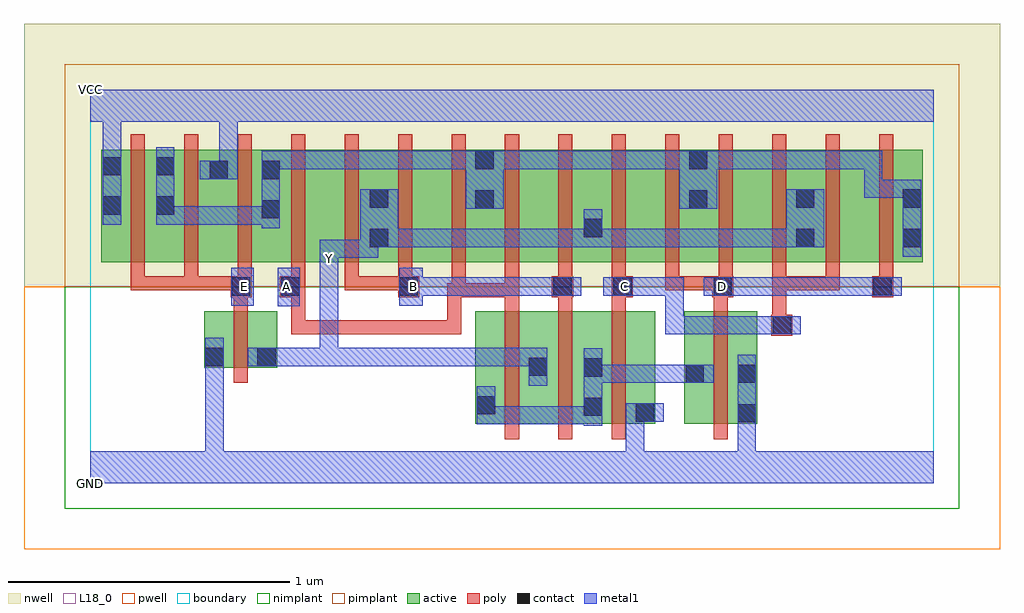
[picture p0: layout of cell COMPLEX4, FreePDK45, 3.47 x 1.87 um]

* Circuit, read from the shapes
.subckt COMPLEX4 A B C D E GND VCC Y
M1 Y E GND VSUBS nfet w=0.2u l=0.05u
M2 Y A n1 VSUBS nfet w=0.4u l=0.05u
M3 n1 B Y VSUBS nfet w=0.4u l=0.05u
M4 GND C n1 VSUBS nfet w=0.4u l=0.05u
M5 GND D n1 VSUBS nfet w=0.4u l=0.05u
M6 n2 E VCC n3 pfet w=0.4u l=0.05u m=3
M7 n4 A n2 n3 pfet w=0.4u l=0.05u
M8 Y B n4 n3 pfet w=0.4u l=0.05u
M9 n5 B Y n3 pfet w=0.4u l=0.05u
M10 n2 A n5 n3 pfet w=0.4u l=0.05u
M11 n6 A n2 n3 pfet w=0.4u l=0.05u
M12 Y B n6 n3 pfet w=0.4u l=0.05u
M13 n7 C Y n3 pfet w=0.4u l=0.05u
M14 n2 D n7 n3 pfet w=0.4u l=0.05u
M15 n8 D n2 n3 pfet w=0.4u l=0.05u
M16 Y C n8 n3 pfet w=0.4u l=0.05u
M17 n9 C Y n3 pfet w=0.4u l=0.05u
M18 n2 D n9 n3 pfet w=0.4u l=0.05u
.ends

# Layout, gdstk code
import gdstk
lib = gdstk.Library(unit=1e-6, precision=1e-09)
def R(c, l, rs):  # rectangles x0, y0, x1, y1
    for r in rs: c.add(gdstk.rectangle(r[:2], r[2:], *l))
def A(c, l, x, y, w, h, nx, ny, dx, dy):  # array of equal rectangles
    R(c, l, [(x+i*dx, y+j*dy, x+i*dx+w, y+j*dy+h) for i in range(nx) for j in range(ny)])
active = (1, 0)
pwell = (2, 0)
nwell = (3, 0)
nimplant = (4, 0)
pimplant = (5, 0)
poly = (9, 0)
contact = (10, 0)
metal1 = (11, 0)
L18_0 = (18, 0)
boundary = (235, 0)

complex4 = lib.new_cell('COMPLEX4')
A(complex4, active, 1.975, 0.787, 0.225, 0.4, 3, 1, 0.38, 0)
R(complex4, active, [(1.37,0.212,1.445,0.612), (1.37,0.212,1.63,0.612), (1.555,0.212,1.825,0.612), (1.75,0.212,2.01,0.612), (1.75,0.212,1.825,0.492), (1.935,0.212,2.01,0.612), (2.112,0.212,2.187,0.612), (2.112,0.212,2.372,0.612), (2.297,0.212,2.372,0.612), (1.555,0.245,1.63,0.492), (0.405,0.412,0.48,0.612), (0.405,0.412,0.665,0.612), (0.59,0.412,0.665,0.612), (0.04,0.787,0.115,1.187), (0.04,0.787,0.305,1.187), (0.23,0.787,0.495,1.187), (0.23,0.787,0.305,1.165), (0.42,0.787,0.495,1.187), (0.42,0.787,0.68,1.187), (0.605,0.787,0.68,1.155), (0.605,0.787,0.835,1.187), (0.835,0.787,1.065,1.187), (0.99,0.787,1.215,1.187), (0.99,0.787,1.065,1.07), (1.215,0.787,1.44,1.187), (1.365,0.787,1.44,1.187), (1.365,0.787,1.595,1.187), (1.595,0.787,1.825,1.187), (1.75,0.787,1.975,1.187), (1.75,0.787,1.825,1.07), (2.125,0.787,2.355,1.187), (2.505,0.787,2.735,1.187), (2.505,0.787,2.58,1.07), (2.885,0.787,2.96,1.155), (2.125,0.802,2.2,1.187)])
R(complex4, pwell, [(-0.235,-0.235,3.235,0.7)])
R(complex4, nwell, [(-0.235,0.7,3.235,1.635)])
R(complex4, nimplant, [(-0.09,-0.09,3.09,0.7)])
R(complex4, pimplant, [(-0.09,0.7,3.09,1.49)])
A(complex4, poly, 1.475, 0.157, 0.05, 0.51, 3, 1, 0.19, 0)
A(complex4, poly, 1.475, 0.617, 0.05, 0.095, 3, 1, 0.19, 0)
A(complex4, poly, 0.145, 0.687, 0.05, 0.095, 6, 1, 0.19, 0)
A(complex4, poly, 1.665, 0.687, 0.05, 0.095, 7, 1, 0.19, 0)
A(complex4, poly, 0.145, 0.732, 0.05, 0.51, 15, 1, 0.19, 0)
R(complex4, poly, [(2.217,0.157,2.267,0.667), (0.51,0.357,0.56,0.667), (2.422,0.525,2.497,0.6), (0.715,0.53,0.765,0.58), (0.715,0.53,0.765,0.712), (0.715,0.53,0.897,0.58), (0.847,0.53,0.897,0.58), (0.847,0.53,0.897,0.58), (0.847,0.53,0.897,0.58), (0.847,0.53,1.087,0.58), (1.037,0.53,1.087,0.58), (1.037,0.53,1.087,0.58), (1.037,0.53,1.087,0.58), (1.037,0.53,1.32,0.58), (1.27,0.53,1.32,0.58), (1.27,0.53,1.32,0.58), (1.27,0.53,1.32,0.58), (1.27,0.53,1.32,0.712), (2.425,0.55,2.475,0.6), (2.425,0.55,2.475,0.6), (2.425,0.55,2.475,0.737), (0.51,0.617,0.56,0.712), (2.217,0.617,2.267,0.712), (0.5,0.662,0.575,0.737), (0.675,0.662,0.765,0.737), (0.715,0.662,0.765,0.712), (0.715,0.662,0.765,0.712), (1.095,0.662,1.17,0.737), (1.27,0.662,1.32,0.712), (1.27,0.662,1.32,0.712), (1.27,0.662,1.335,0.712), (1.285,0.662,1.525,0.712), (1.285,0.662,1.335,0.782), (1.475,0.662,1.525,0.712), (1.475,0.662,1.525,0.712), (1.475,0.662,1.525,0.712), (1.475,0.662,1.525,0.782), (1.642,0.662,1.717,0.737), (1.855,0.662,1.93,0.737), (2.212,0.662,2.287,0.737), (2.78,0.662,2.855,0.737), (0.145,0.687,0.195,0.737), (0.145,0.687,0.195,0.737), (0.145,0.687,0.195,0.737), (0.145,0.687,0.385,0.737), (0.335,0.687,0.385,0.737), (0.335,0.687,0.385,0.737), (0.335,0.687,0.385,0.737), (0.335,0.687,0.55,0.737), (0.905,0.687,0.955,0.737), (0.905,0.687,1.145,0.737), (1.095,0.687,1.145,0.737), (1.095,0.687,1.145,0.737), (2.045,0.687,2.095,0.737), (2.045,0.687,2.262,0.737), (2.212,0.687,2.262,0.737), (2.212,0.687,2.262,0.737), (2.425,0.687,2.475,0.737), (2.425,0.687,2.665,0.737), (2.615,0.687,2.665,0.737), (2.615,0.687,2.665,0.737), (2.615,0.687,2.665,0.737)])
R(complex4, contact, [(2.302,0.217,2.367,0.282), (1.94,0.22,2.005,0.285), (1.755,0.24,1.82,0.305), (1.375,0.245,1.44,0.31), (2.117,0.357,2.182,0.422), (2.302,0.357,2.367,0.422), (1.755,0.38,1.82,0.445), (1.56,0.382,1.625,0.447), (0.41,0.417,0.475,0.482), (0.595,0.417,0.66,0.482), (2.427,0.53,2.492,0.595), (0.505,0.667,0.57,0.732), (0.68,0.667,0.745,0.732), (1.1,0.667,1.165,0.732), (1.647,0.667,1.712,0.732), (1.86,0.667,1.925,0.732), (2.217,0.667,2.282,0.732), (2.785,0.667,2.85,0.732), (0.995,0.84,1.06,0.905), (2.51,0.84,2.575,0.905), (2.89,0.84,2.955,0.905), (1.755,0.875,1.82,0.94), (0.61,0.942,0.675,1.007), (0.045,0.955,0.11,1.02), (0.235,0.955,0.3,1.02), (1.37,0.977,1.435,1.042), (2.13,0.977,2.195,1.042), (0.995,0.98,1.06,1.045), (2.51,0.98,2.575,1.045), (2.89,0.98,2.955,1.045), (0.425,1.082,0.49,1.147), (0.61,1.082,0.675,1.147), (0.045,1.095,0.11,1.16), (0.235,1.095,0.3,1.16), (1.37,1.117,1.435,1.182), (2.13,1.117,2.195,1.182)])
R(complex4, metal1, [(0,0,3,0.115), (0.41,0.05,0.475,0.115), (0.41,0.05,0.475,0.115), (0.41,0.05,0.475,0.115), (0.41,0.05,0.475,0.115), (0.41,0.05,0.475,0.447), (1.905,0.05,1.97,0.285), (2.302,0.05,2.367,0.247), (2.302,0.182,2.367,0.247), (2.302,0.182,2.367,0.247), (2.302,0.182,2.367,0.457), (1.755,0.205,1.82,0.48), (1.375,0.21,1.44,0.345), (1.375,0.21,1.54,0.275), (1.475,0.21,1.54,0.275), (1.475,0.21,1.682,0.275), (1.617,0.21,1.682,0.275), (1.617,0.21,1.682,0.275), (1.617,0.21,1.682,0.275), (1.617,0.21,1.82,0.275), (1.905,0.22,1.97,0.285), (1.905,0.22,1.97,0.285), (1.905,0.22,2.04,0.285), (1.56,0.347,1.625,0.482), (1.755,0.357,1.82,0.422), (1.755,0.357,1.82,0.422), (1.755,0.357,1.967,0.422), (1.902,0.357,1.967,0.422), (1.902,0.357,2.11,0.422), (2.045,0.357,2.11,0.422), (2.045,0.357,2.147,0.422), (2.082,0.357,2.217,0.422), (0.41,0.382,0.475,0.447), (0.41,0.382,0.475,0.447), (0.41,0.382,0.475,0.517), (0.56,0.417,0.695,0.482), (0.63,0.417,0.695,0.482), (0.63,0.417,0.695,0.482), (0.63,0.417,0.882,0.482), (0.817,0.417,0.882,0.482), (0.817,0.417,0.882,0.482), (0.817,0.417,0.882,0.482), (0.817,0.417,1.025,0.482), (0.817,0.417,0.882,0.797), (0.96,0.417,1.025,0.482), (0.96,0.417,1.025,0.482), (0.96,0.417,1.025,0.482), (0.96,0.417,1.262,0.482), (1.197,0.417,1.262,0.482), (1.197,0.417,1.402,0.482), (1.337,0.417,1.402,0.482), (1.337,0.417,1.402,0.482), (1.337,0.417,1.402,0.482), (1.337,0.417,1.54,0.482), (1.475,0.417,1.54,0.482), (1.475,0.417,1.625,0.482), (2.045,0.53,2.11,0.595), (2.045,0.53,2.247,0.595), (2.045,0.53,2.11,0.732), (2.182,0.53,2.247,0.595), (2.182,0.53,2.367,0.595), (2.302,0.53,2.367,0.595), (2.302,0.53,2.367,0.595), (2.302,0.53,2.367,0.595), (2.302,0.53,2.457,0.595), (2.392,0.53,2.527,0.595), (0.667,0.63,0.745,0.767), (0.502,0.632,0.582,0.767), (1.1,0.632,1.182,0.767), (1.117,0.667,1.262,0.732), (1.197,0.667,1.262,0.732), (1.197,0.667,1.4,0.732), (1.335,0.667,1.4,0.732), (1.335,0.667,1.4,0.732), (1.335,0.667,1.4,0.732), (1.335,0.667,1.54,0.732), (1.475,0.667,1.54,0.732), (1.475,0.667,1.677,0.732), (1.612,0.667,1.677,0.732), (1.612,0.667,1.677,0.732), (1.612,0.667,1.747,0.732), (1.825,0.667,1.967,0.732), (1.902,0.667,1.967,0.732), (1.902,0.667,1.967,0.732), (1.902,0.667,2.11,0.732), (2.045,0.667,2.11,0.732), (2.045,0.667,2.11,0.732), (2.045,0.667,2.11,0.732), (2.182,0.667,2.317,0.732), (2.252,0.667,2.367,0.732), (2.302,0.667,2.367,0.732), (2.302,0.667,2.505,0.732), (2.44,0.667,2.505,0.732), (2.44,0.667,2.505,0.732), (2.44,0.667,2.505,0.732), (2.44,0.667,2.677,0.732), (2.612,0.667,2.677,0.732), (2.612,0.667,2.677,0.732), (2.612,0.667,2.677,0.732), (2.612,0.667,2.815,0.732), (2.75,0.667,2.885,0.732), (0.817,0.732,0.882,0.867), (0.817,0.802,0.882,0.867), (0.817,0.802,0.882,0.867), (0.817,0.802,1.025,0.867), (0.96,0.802,1.025,0.867), (0.96,0.802,1.025,0.905), (2.89,0.805,2.955,1.08), (0.96,0.84,1.095,1.045), (1.03,0.84,1.095,0.905), (1.03,0.84,1.095,0.905), (1.03,0.84,1.262,0.905), (1.197,0.84,1.262,0.905), (1.197,0.84,1.4,0.905), (1.335,0.84,1.4,0.905), (1.335,0.84,1.4,0.905), (1.335,0.84,1.4,0.905), (1.335,0.84,1.54,0.905), (1.475,0.84,1.54,0.905), (1.475,0.84,1.682,0.905), (1.617,0.84,1.682,0.905), (1.617,0.84,1.682,0.905), (1.617,0.84,1.682,0.905), (1.617,0.84,1.82,0.905), (1.755,0.84,1.82,0.905), (1.755,0.84,1.82,0.905), (1.755,0.84,1.972,0.905), (1.755,0.84,1.82,0.975), (1.907,0.84,1.972,0.905), (1.907,0.84,2.11,0.905), (2.045,0.84,2.11,0.905), (2.045,0.84,2.11,0.905), (2.045,0.84,2.11,0.905), (2.045,0.84,2.247,0.905), (2.182,0.84,2.247,0.905), (2.182,0.84,2.367,0.905), (2.302,0.84,2.367,0.905), (2.302,0.84,2.54,0.905), (2.475,0.84,2.54,0.905), (2.475,0.84,2.54,0.905), (2.475,0.84,2.61,1.045), (0.61,0.907,0.675,1.182), (0.045,0.92,0.11,1.195), (0.235,0.92,0.3,0.985), (0.235,0.92,0.3,0.985), (0.235,0.92,0.3,1.195), (0.235,0.92,0.437,0.985), (0.372,0.92,0.437,0.985), (0.372,0.92,0.437,0.985), (0.372,0.92,0.437,0.985), (0.372,0.92,0.675,0.985), (1.335,0.977,1.47,1.182), (2.095,0.977,2.23,1.182), (2.752,1.015,2.817,1.08), (2.752,1.015,2.955,1.08), (2.752,1.015,2.817,1.182), (2.89,1.015,2.955,1.08), (2.89,1.015,2.955,1.08), (0.39,1.082,0.525,1.147), (0.46,1.082,0.525,1.35), (0.61,1.117,0.675,1.182), (0.61,1.117,0.675,1.182), (0.61,1.117,0.887,1.182), (0.822,1.117,0.887,1.182), (0.822,1.117,0.887,1.182), (0.822,1.117,0.887,1.182), (0.822,1.117,0.887,1.182), (0.822,1.117,0.887,1.182), (0.822,1.117,1.125,1.182), (1.06,1.117,1.125,1.182), (1.06,1.117,1.262,1.182), (1.197,1.117,1.262,1.182), (1.197,1.117,1.262,1.182), (1.197,1.117,1.262,1.182), (1.197,1.117,1.4,1.182), (1.335,1.117,1.4,1.182), (1.335,1.117,1.4,1.182), (1.405,1.117,1.54,1.182), (1.475,1.117,1.54,1.182), (1.475,1.117,1.677,1.182), (1.612,1.117,1.677,1.182), (1.612,1.117,1.677,1.182), (1.612,1.117,1.677,1.182), (1.612,1.117,1.83,1.182), (1.765,1.117,1.83,1.182), (1.765,1.117,1.972,1.182), (1.907,1.117,1.972,1.182), (1.907,1.117,1.972,1.182), (1.907,1.117,1.972,1.182), (1.907,1.117,2.11,1.182), (2.045,1.117,2.11,1.182), (2.045,1.117,2.16,1.182), (2.165,1.117,2.32,1.182), (2.255,1.117,2.32,1.182), (2.255,1.117,2.367,1.182), (2.302,1.117,2.367,1.182), (2.302,1.117,2.505,1.182), (2.44,1.117,2.505,1.182), (2.44,1.117,2.505,1.182), (2.44,1.117,2.505,1.182), (2.44,1.117,2.677,1.182), (2.612,1.117,2.677,1.182), (2.612,1.117,2.817,1.182), (2.752,1.117,2.817,1.182), (0.045,1.13,0.11,1.35), (0,1.285,3,1.4)])
R(complex4, L18_0, [(0,0,3,0.115), (0.41,0.05,0.475,0.115), (0.41,0.05,0.475,0.115), (0.41,0.05,0.475,0.115), (0.41,0.05,0.475,0.115), (0.41,0.05,0.475,0.447), (1.905,0.05,1.97,0.285), (2.302,0.05,2.367,0.247), (2.302,0.182,2.367,0.457), (2.302,0.182,2.367,0.247), (2.302,0.182,2.367,0.247), (1.905,0.22,1.97,0.285), (1.905,0.22,1.97,0.285), (1.905,0.22,2.04,0.285), (1.56,0.347,1.625,0.482), (0.41,0.382,0.475,0.447), (0.41,0.382,0.475,0.447), (0.41,0.382,0.475,0.517), (0.56,0.417,0.695,0.482), (0.63,0.417,0.695,0.482), (0.63,0.417,0.695,0.482), (0.63,0.417,0.882,0.482), (0.817,0.417,0.882,0.482), (0.817,0.417,0.882,0.482), (0.817,0.417,0.882,0.482), (0.817,0.417,0.882,0.797), (0.817,0.417,1.025,0.482), (0.96,0.417,1.025,0.482), (0.96,0.417,1.025,0.482), (0.96,0.417,1.025,0.482), (0.96,0.417,1.262,0.482), (1.197,0.417,1.262,0.482), (1.197,0.417,1.402,0.482), (1.337,0.417,1.402,0.482), (1.337,0.417,1.402,0.482), (1.337,0.417,1.402,0.482), (1.337,0.417,1.54,0.482), (1.475,0.417,1.54,0.482), (1.475,0.417,1.625,0.482), (2.045,0.53,2.11,0.595), (2.045,0.53,2.247,0.595), (2.045,0.53,2.11,0.732), (2.182,0.53,2.247,0.595), (2.182,0.53,2.367,0.595), (2.302,0.53,2.367,0.595), (2.302,0.53,2.367,0.595), (2.302,0.53,2.367,0.595), (2.302,0.53,2.457,0.595), (2.392,0.53,2.527,0.595), (0.667,0.63,0.745,0.767), (0.502,0.632,0.582,0.767), (1.1,0.632,1.182,0.767), (0.517,0.667,0.582,0.732), (0.667,0.667,0.732,0.732), (1.117,0.667,1.182,0.732), (1.117,0.667,1.262,0.732), (1.197,0.667,1.262,0.732), (1.197,0.667,1.4,0.732), (1.335,0.667,1.4,0.732), (1.335,0.667,1.4,0.732), (1.335,0.667,1.4,0.732), (1.335,0.667,1.54,0.732), (1.475,0.667,1.54,0.732), (1.475,0.667,1.677,0.732), (1.612,0.667,1.677,0.732), (1.612,0.667,1.677,0.732), (1.612,0.667,1.747,0.732), (1.825,0.667,1.967,0.732), (1.867,0.667,1.932,0.732), (1.902,0.667,1.967,0.732), (1.902,0.667,1.967,0.732), (1.902,0.667,2.11,0.732), (2.045,0.667,2.11,0.732), (2.045,0.667,2.11,0.732), (2.045,0.667,2.11,0.732), (2.182,0.667,2.317,0.732), (2.217,0.667,2.282,0.732), (2.252,0.667,2.367,0.732), (2.302,0.667,2.367,0.732), (2.302,0.667,2.505,0.732), (2.44,0.667,2.505,0.732), (2.44,0.667,2.505,0.732), (2.44,0.667,2.505,0.732), (2.44,0.667,2.677,0.732), (2.612,0.667,2.677,0.732), (2.612,0.667,2.677,0.732), (2.612,0.667,2.677,0.732), (2.612,0.667,2.815,0.732), (2.75,0.667,2.885,0.732), (0.817,0.732,0.882,0.867), (0.817,0.767,0.882,0.832), (0.817,0.802,0.882,0.867), (0.817,0.802,0.882,0.867), (0.817,0.802,1.025,0.867), (0.96,0.802,1.025,0.867), (0.96,0.802,1.025,0.905), (0.96,0.84,1.095,1.045), (1.03,0.84,1.095,0.905), (1.03,0.84,1.095,0.905), (1.03,0.84,1.262,0.905), (1.197,0.84,1.262,0.905), (1.197,0.84,1.4,0.905), (1.335,0.84,1.4,0.905), (1.335,0.84,1.4,0.905), (1.335,0.84,1.4,0.905), (1.335,0.84,1.54,0.905), (1.475,0.84,1.54,0.905), (1.475,0.84,1.682,0.905), (1.617,0.84,1.682,0.905), (1.617,0.84,1.682,0.905), (1.617,0.84,1.682,0.905), (1.617,0.84,1.82,0.905), (1.755,0.84,1.82,0.905), (1.755,0.84,1.82,0.905), (1.755,0.84,1.82,0.975), (1.755,0.84,1.972,0.905), (1.907,0.84,1.972,0.905), (1.907,0.84,2.11,0.905), (2.045,0.84,2.11,0.905), (2.045,0.84,2.11,0.905), (2.045,0.84,2.11,0.905), (2.045,0.84,2.247,0.905), (2.182,0.84,2.247,0.905), (2.182,0.84,2.367,0.905), (2.302,0.84,2.367,0.905), (2.302,0.84,2.54,0.905), (2.475,0.84,2.54,0.905), (2.475,0.84,2.54,0.905), (2.475,0.84,2.61,1.045), (0.045,0.92,0.11,1.195), (0.39,1.082,0.525,1.147), (0.46,1.082,0.525,1.35), (0.045,1.13,0.11,1.35), (0,1.285,3,1.4)])
R(complex4, boundary, [(0,0,3,1.4)])
complex4.add(gdstk.Label('A', (0.7,0.7), layer=11, texttype=0))
complex4.add(gdstk.Label('B', (1.15,0.7), layer=11, texttype=0))
complex4.add(gdstk.Label('C', (1.9,0.7), layer=11, texttype=0))
complex4.add(gdstk.Label('D', (2.25,0.7), layer=11, texttype=0))
complex4.add(gdstk.Label('E', (0.55,0.7), layer=11, texttype=0))
complex4.add(gdstk.Label('Y', (0.85,0.8), layer=11, texttype=0))
complex4.add(gdstk.Label('VCC', (0,1.4), layer=11, texttype=0))
complex4.add(gdstk.Label('GND', (0,0), layer=11, texttype=0))

lib.write_gds('COMPLEX4.gds')
